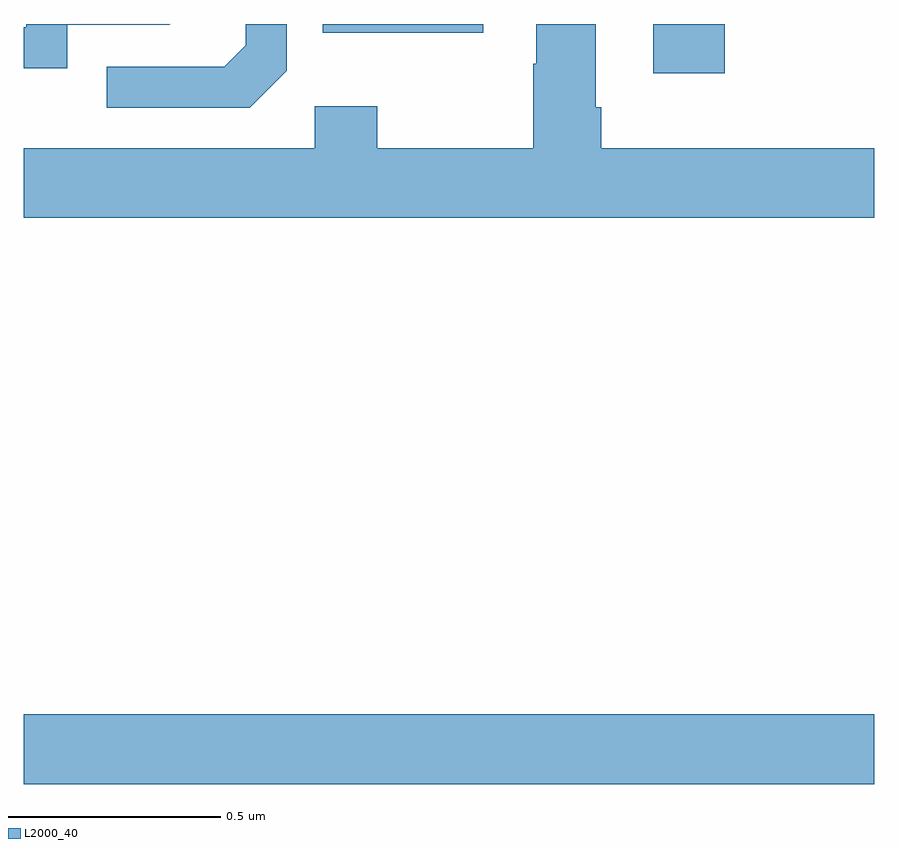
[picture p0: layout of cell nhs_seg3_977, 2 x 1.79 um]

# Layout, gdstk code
import gdstk
lib = gdstk.Library(unit=1e-6, precision=1e-09)
def R(c, l, rs):  # rectangles x0, y0, x1, y1
    for r in rs: c.add(gdstk.rectangle(r[:2], r[2:], *l))
def P(c, l, *ps):  # polygons
    for p in ps: c.add(gdstk.Polygon(p, *l))
L2000_40 = (2000, 40)

nhs_seg3_977 = lib.new_cell('nhs_seg3_977')
R(nhs_seg3_977, L2000_40, [(123,671.612,125,671.776), (124.481,673.284,124.649,673.4), (123.703,673.379,124.081,673.4)])
P(nhs_seg3_977, L2000_40, [(125,673.108),(124.358,673.108),(124.358,673.204),(124.345,673.204),(124.345,673.4),(124.205,673.4),(124.205,673.307),(124.198,673.307),(124.198,673.108),(123.831,673.108),(123.831,673.207),(123.684,673.207),(123.684,673.108),(123,673.108),(123,672.944),(125,672.944)],
  [(123.618,673.29),(123.618,673.4),(123.522,673.4),(123.522,673.35),(123.471,673.299),(123.195,673.299),(123.195,673.203),(123.531,673.203)],
  [(123.102,673.398),(123.342,673.398),(123.344,673.4),(123.006,673.4),(123.006,673.392),(123,673.392),(123,673.296),(123.102,673.296)])

lib.write_gds('nhs_seg3_977.gds')
